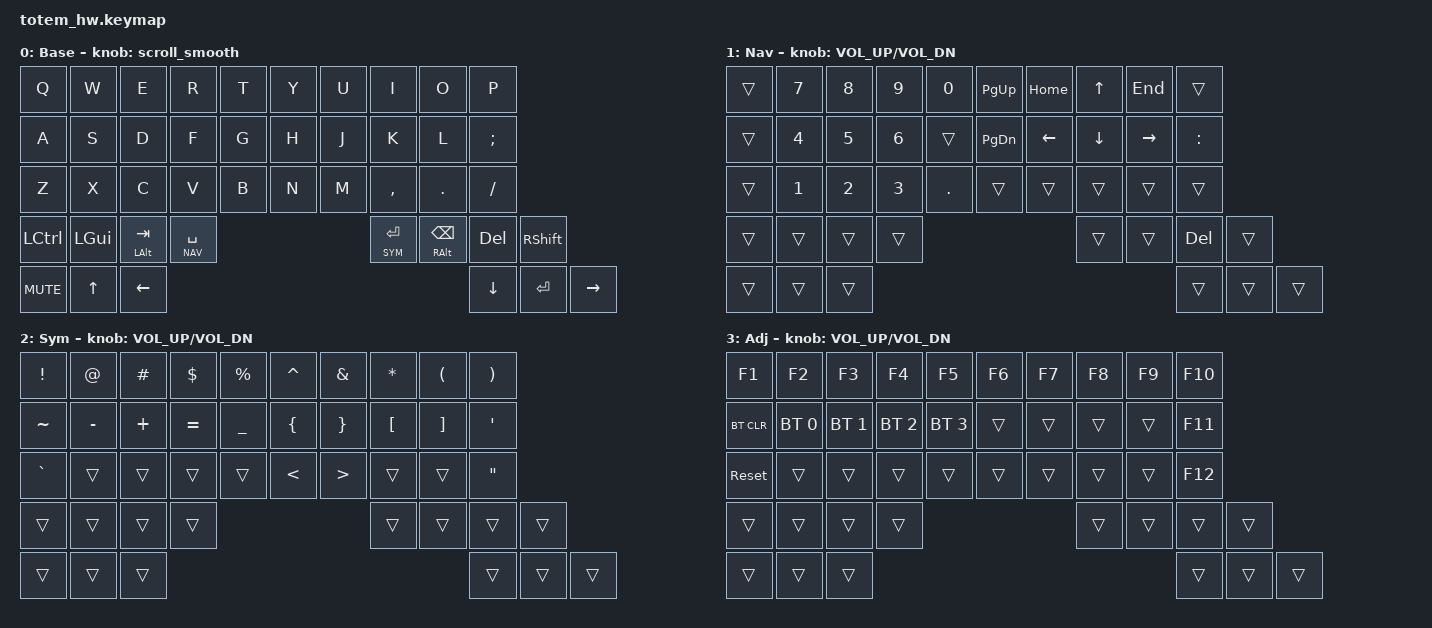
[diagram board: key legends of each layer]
#include <behaviors.dtsi>
#include <dt-bindings/zmk/keys.h>
#include <dt-bindings/zmk/bt.h>
#include <dt-bindings/zmk/outputs.h>

#define BASE 0
#define NAV  1
#define SYM  2
#define ADJ  3

/ {
    combos {
        compatible = "zmk,combos";
        combo_esc {
            timeout-ms = <50>;
            key-positions = <0 1>; 
            bindings = <&kp ESC>;
        };
        combo_del {
            timeout-ms = <50>;
            key-positions = <8 9>;
            bindings = <&kp DEL>;
        };
    };

    conditional_layers {
        compatible = "zmk,conditional-layers";
        tri_layer {
            if-layers = <NAV SYM>;
            then-layer = <ADJ>;
        };
    };

    behaviors {
        lt_opt: layer_tap_optimized {
            compatible = "zmk,behavior-hold-tap";
            #binding-cells = <2>;
            flavor = "balanced";
            tapping-term-ms = <350>;
            quick-tap-ms = <175>;
            bindings = <&mo>, <&kp>;
        };

        mt_opt: mod_tap_optimized {
            compatible = "zmk,behavior-hold-tap";
            #binding-cells = <2>;
            flavor = "tap-preferred";
            tapping-term-ms = <200>;
            quick-tap-ms = <150>;
            bindings = <&kp>, <&kp>;
        };

        scroll_vert: scroll_vert {
            compatible = "zmk,behavior-sensor-rotate";
            #sensor-binding-cells = <0>;
            bindings = <&kp PG_UP>, <&kp PG_DN>;
            tap-ms = <5>; 
        };
        
        scroll_hor: scroll_hor {
            compatible = "zmk,behavior-sensor-rotate";
            #sensor-binding-cells = <0>;
            bindings = <&kp LEFT>, <&kp RIGHT>;
            tap-ms = <5>;
        };

        scroll_smooth: scroll_smooth {
            compatible = "zmk,behavior-sensor-rotate";
            #sensor-binding-cells = <0>;
            bindings = <&macro_scroll_up>, <&macro_scroll_down>;
        };
    };

    macros {
        macro_scroll_up: macro_scroll_up {
            compatible = "zmk,behavior-macro";
            #binding-cells = <0>;
            wait-ms = <0>;
            tap-ms = <0>;
            bindings = <&kp UP &kp UP &kp UP>;
        };
        
        macro_scroll_down: macro_scroll_down {
            compatible = "zmk,behavior-macro";
            #binding-cells = <0>;
            wait-ms = <0>;
            tap-ms = <0>;
            bindings = <&kp DOWN &kp DOWN &kp DOWN>;
        };
    };

    keymap {
        compatible = "zmk,keymap";

        base_layer {
            display-name = "Base";
            bindings = <
    &kp Q      &kp W      &kp E       &kp R       &kp T           &kp Y      &kp U      &kp I       &kp O      &kp P
    &kp A      &kp S      &kp D       &kp F       &kp G           &kp H      &kp J      &kp K       &kp L      &kp SEMI
    &kp Z      &kp X      &kp C       &kp V       &kp B           &kp N      &kp M      &kp COMMA   &kp DOT    &kp FSLH
    &kp LCTRL  &kp LGUI   &mt_opt LALT TAB    &lt_opt NAV SPACE       &lt_opt SYM RET      &mt_opt RALT BSPC    &kp DEL    &kp RSHFT
    &kp K_MUTE                                                                              &kp UP      &kp LEFT   &kp DOWN   &kp RET    &kp RIGHT
            >;
            sensor-bindings = <&scroll_smooth>;
        };

        nav_layer {
            display-name = "Nav";
            bindings = <
    &trans     &kp N7     &kp N8      &kp N9      &kp N0          &kp PG_UP  &kp HOME   &kp UP      &kp END    &trans
    &trans     &kp N4     &kp N5      &kp N6      &trans          &kp PG_DN  &kp LEFT   &kp DOWN    &kp RIGHT  &kp COLON
    &trans     &kp N1     &kp N2      &kp N3      &kp DOT         &trans     &trans     &trans      &trans     &trans
    &trans     &trans     &trans      &trans                  &trans     &trans     &kp DEL     &trans
    &trans                                                                              &trans      &trans     &trans     &trans     &trans
            >;
            sensor-bindings = <&inc_dec_kp C_VOL_UP C_VOL_DN>;
        };

        sym_layer {
            display-name = "Sym";
            bindings = <
    &kp EXCL   &kp AT     &kp HASH    &kp DLLR    &kp PRCNT       &kp CARET  &kp AMPS   &kp STAR    &kp LPAR   &kp RPAR
    &kp TILDE  &kp MINUS  &kp PLUS    &kp EQUAL   &kp UNDER       &kp LBRC   &kp RBRC   &kp LBKT    &kp RBKT   &kp SQT
    &kp GRAVE  &trans     &trans      &trans      &trans          &kp LT     &kp GT     &trans      &trans     &kp DQT
    &trans     &trans     &trans      &trans                  &trans     &trans     &trans      &trans
    &trans                                                                              &trans      &trans     &trans     &trans     &trans
            >;
            sensor-bindings = <&inc_dec_kp C_VOL_UP C_VOL_DN>;
        };

        adj_layer {
            display-name = "Adj";
            bindings = <
    &kp F1        &kp F2        &kp F3        &kp F4        &kp F5           &kp F6           &kp F7           &kp F8           &kp F9           &kp F10
    &bt BT_CLR    &bt BT_SEL 0  &bt BT_SEL 1  &bt BT_SEL 2  &bt BT_SEL 3     &trans           &trans           &trans           &trans           &kp F11
    &sys_reset    &trans        &trans        &trans        &trans           &trans           &trans           &trans           &trans           &kp F12
    &trans        &trans        &trans        &trans                  &trans     &trans     &trans      &trans
    &trans                                                                              &trans      &trans     &trans     &trans     &trans
            >;
            sensor-bindings = <&inc_dec_kp C_VOL_UP C_VOL_DN>;
        };
    };
};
